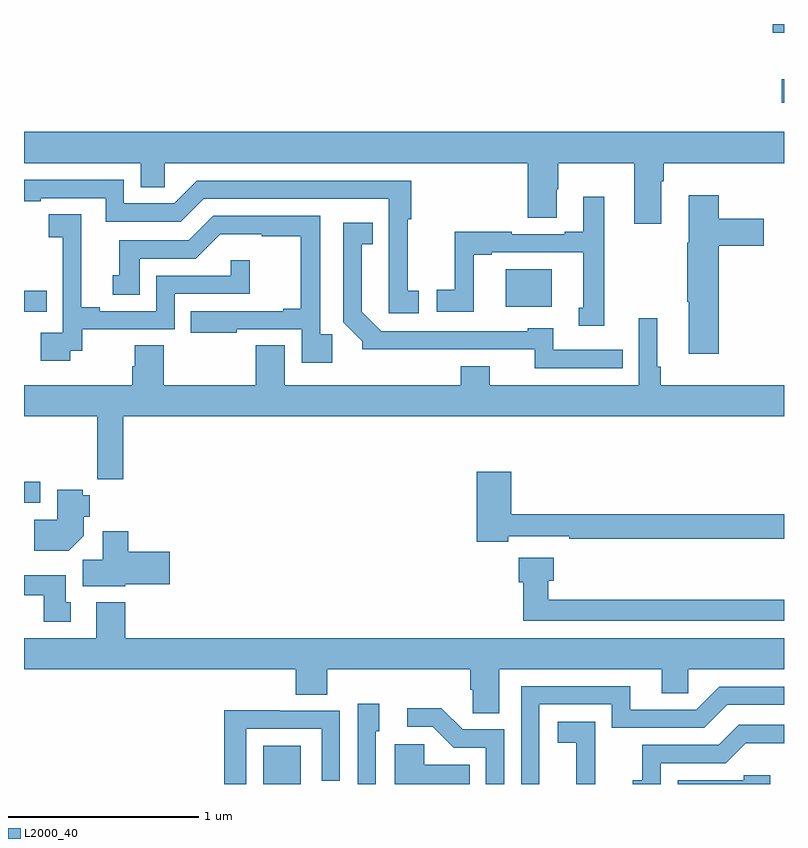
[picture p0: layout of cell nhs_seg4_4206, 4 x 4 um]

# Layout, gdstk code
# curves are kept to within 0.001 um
import gdstk
lib = gdstk.Library(unit=1e-6, precision=1e-09)
def R(c, l, rs):  # rectangles x0, y0, x1, y1
    for r in rs: c.add(gdstk.rectangle(r[:2], r[2:], *l))
def P(c, l, *ps):  # polygons
    for p in ps: c.add(gdstk.Polygon(p, *l))
L2000_40 = (2000, 40)

nhs_seg4_4206 = lib.new_cell('nhs_seg4_4206')
R(nhs_seg4_4206, L2000_40, [(336.26,778.9,336.457,779.101), (335,780.381,335.086,780.49), (335,781.386,335.12,781.495), (337.535,781.412,337.777,781.609), (338.988,782.486,339,782.608), (338.94,782.855,339,782.9)])
P(nhs_seg4_4206, L2000_40, [(338.353,782.072),(338.366,782.072),(338.366,782.168),(339,782.168),(339,782.332),(335,782.332),(335,782.168),(335.615,782.168),(335.615,782.041),(335.742,782.041),(335.742,782.168),(337.652,782.168),(337.652,781.879),(337.804,781.879),(337.804,782.03),(337.812,782.03),(337.812,782.168),(338.213,782.168),(338.213,781.848),(338.353,781.848)],
  [(337.078,781.497),(337.02,781.497),(337.02,781.873),(337.037,781.873),(337.037,782.076),(335.91,782.076),(335.79,781.956),(335.526,781.956),(335.526,782.079),(335,782.079),(335,781.968),(335.089,781.968),(335.089,781.983),(335.43,781.983),(335.43,781.86),(335.826,781.86),(335.946,781.98),(336.921,781.98),(336.92,781.377),(337.078,781.377)],
  [(338.657,781.733),(338.893,781.733),(338.893,781.875),(338.657,781.875),(338.657,781.999),(338.498,781.999),(338.498,781.749),(338.491,781.749),(338.491,781.438),(338.498,781.438),(338.498,781.164),(338.657,781.164)],
  [(338.053,781.99),(337.943,781.99),(337.943,781.807),(337.847,781.807),(337.847,781.794),(337.568,781.794),(337.568,781.807),(337.267,781.807),(337.267,781.502),(337.173,781.502),(337.173,781.386),(337.366,781.386),(337.366,781.686),(337.462,781.686),(337.462,781.698),(337.943,781.698),(337.943,781.407),(337.919,781.407),(337.919,781.313),(338.053,781.313)],
  [(335.244,781.179),(335.306,781.179),(335.306,781.293),(335.793,781.293),(335.793,781.479),(336.188,781.479),(336.188,781.657),(336.087,781.657),(336.087,781.575),(335.697,781.575),(335.697,781.389),(335.398,781.389),(335.398,781.409),(335.302,781.409),(335.302,781.787),(335.3,781.787),(335.3,781.898),(335.13,781.898),(335.13,781.777),(335.204,781.777),(335.204,781.579),(335.205,781.579),(335.205,781.275),(335.088,781.275),(335.088,781.128),(335.244,781.128)],
  [(336.623,781.267),(336.558,781.267),(336.558,781.89),(335.997,781.89),(335.868,781.761),(335.501,781.761),(335.501,781.578),(335.468,781.578),(335.468,781.474),(335.608,781.474),(335.608,781.665),(335.904,781.665),(336.032,781.793),(336.251,781.793),(336.251,781.782),(336.457,781.782),(336.457,781.402),(336.365,781.402),(336.365,781.389),(335.878,781.389),(335.878,781.274),(336.121,781.274),(336.121,781.293),(336.462,781.293),(336.462,781.116),(336.623,781.116)],
  [(338.15,781.185),(337.786,781.185),(337.786,781.3),(337.65,781.3),(337.65,781.284),(336.879,781.284),(336.778,781.385),(336.778,781.742),(336.836,781.742),(336.836,781.855),(336.681,781.855),(336.681,781.33),(336.78,781.231),(336.78,781.187),(337.687,781.188),(337.687,781.089),(338.15,781.089)],
  [(335.522,780.836),(339,780.836),(339,781),(338.351,781),(338.351,781.096),(338.332,781.096),(338.332,781.351),(338.235,781.351),(338.235,781),(337.45,781),(337.45,781.099),(337.298,781.099),(337.298,781),(336.373,781),(336.373,781.208),(336.221,781.208),(336.221,781),(335.735,781),(335.735,781.208),(335.582,781.208),(335.582,781.098),(335.57,781.098),(335.57,781),(335,781),(335,780.836),(335.386,780.836),(335.386,780.504),(335.522,780.504)],
  [(337.548,780.204),(337.87,780.204),(337.87,780.192),(339,780.192),(339,780.32),(337.565,780.32),(337.565,780.544),(337.382,780.544),(337.382,780.176),(337.548,780.176)],
  [(335.314,780.206),(335.314,780.306),(335.345,780.306),(335.345,780.42),(335.31,780.42),(335.31,780.45),(335.174,780.45),(335.174,780.292),(335.053,780.292),(335.053,780.128),(335.236,780.128)],
  [(335.532,779.951),(335.767,779.951),(335.767,780.122),(335.549,780.122),(335.549,780.229),(335.414,780.229),(335.414,780.08),(335.309,780.08),(335.309,779.942),(335.532,779.942)],
  [(339,779.869),(337.759,779.869),(337.759,779.969),(337.787,779.969),(337.787,780.091),(337.604,780.091),(337.604,779.962),(337.627,779.962),(337.627,779.76),(339,779.76)],
  [(335.245,779.856),(335.221,779.856),(335.221,779.998),(335,779.998),(335,779.894),(335.105,779.894),(335.105,779.754),(335.245,779.754)],
  [(337.501,779.504),(338.357,779.504),(338.357,779.377),(338.496,779.377),(338.496,779.504),(339,779.504),(339,779.668),(335.534,779.668),(335.534,779.857),(335.381,779.857),(335.381,779.668),(335,779.668),(335,779.504),(336.431,779.504),(336.431,779.371),(336.596,779.371),(336.596,779.504),(337.349,779.504),(337.349,779.395),(337.362,779.395),(337.362,779.272),(337.501,779.272)],
  [(337.713,779.319),(338.094,779.319),(338.094,779.196),(338.58,779.196),(338.7,779.316),(339,779.316),(339,779.412),(338.658,779.412),(338.538,779.292),(338.191,779.292),(338.191,779.415),(337.617,779.415),(337.617,778.9),(337.713,778.9)],
  [(336.852,779.178),(336.871,779.178),(336.871,779.323),(336.756,779.323),(336.756,778.9),(336.852,778.9)],
  [(337.527,779.187),(337.308,779.187),(337.195,779.3),(337.017,779.3),(337.017,779.202),(337.151,779.202),(337.262,779.091),(337.431,779.091),(337.431,778.9),(337.527,778.9)],
  [(336.171,779.19),(336.567,779.19),(336.567,778.917),(336.663,778.917),(336.663,779.286),(336.347,779.286),(336.347,779.288),(336.055,779.288),(336.055,778.9),(336.171,778.9)],
  [(338.006,779.021),(338.007,779.021),(338.007,779.227),(337.809,779.227),(337.809,779.117),(337.907,779.117),(337.907,778.9),(338.006,778.9)],
  [(338.352,779.01),(338.694,779.01),(338.798,779.114),(339,779.114),(339,779.211),(338.762,779.211),(338.657,779.106),(338.254,779.106),(338.254,778.921),(338.205,778.921),(338.205,778.9),(338.352,778.9)],
  [(337.346,779.002),(337.107,779.002),(337.107,779.11),(336.95,779.11),(336.95,778.9),(337.346,778.9)],
  [(338.927,778.947),(338.787,778.947),(338.787,778.92),(338.442,778.92),(338.442,778.9),(338.927,778.9)])

lib.write_gds('nhs_seg4_4206.gds')
